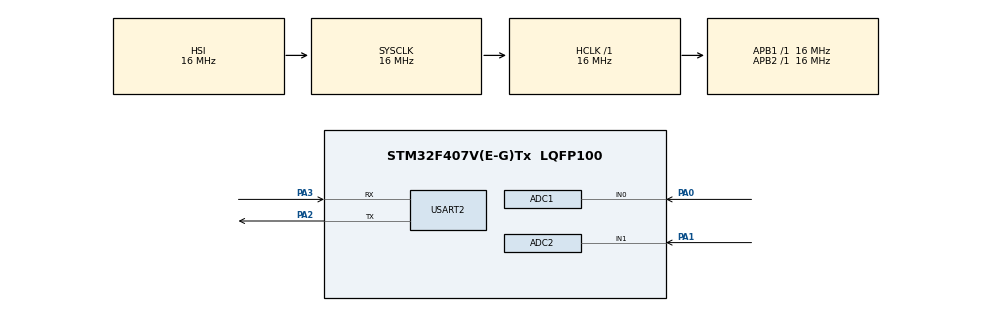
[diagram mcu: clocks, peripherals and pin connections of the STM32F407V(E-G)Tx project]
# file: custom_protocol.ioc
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ADC1.Channel-0\#ChannelRegularConversion=ADC_CHANNEL_0
ADC1.NbrOfConversionFlag=1
ADC1.Rank-0\#ChannelRegularConversion=1
ADC1.SamplingTime-0\#ChannelRegularConversion=ADC_SAMPLETIME_3CYCLES
ADC1.master=1
ADC2.Channel-1\#ChannelRegularConversion=ADC_CHANNEL_1
ADC2.NbrOfConversionFlag=1
ADC2.Rank-1\#ChannelRegularConversion=1
ADC2.SamplingTime-1\#ChannelRegularConversion=ADC_SAMPLETIME_3CYCLES
Mcu.Family=STM32F4
Mcu.Name=STM32F407V(E-G)Tx
Mcu.Package=LQFP100
NVIC.PriorityGroup=NVIC_PRIORITYGROUP_4
PA0-WKUP.Signal=ADCx_IN0
PA1.Signal=ADCx_IN1
PA2.Mode=Asynchronous
PA2.Signal=USART2_TX
PA3.Mode=Asynchronous
PA3.Signal=USART2_RX
ProjectManager.HeapSize=0x200
ProjectManager.StackSize=0x400
ProjectManager.TargetToolchain=Makefile
RCC.AHBFreq_Value=16000000
RCC.APB1Freq_Value=16000000
RCC.APB2Freq_Value=16000000
RCC.CortexFreq_Value=16000000
RCC.HSE_VALUE=25000000
RCC.HSI_VALUE=16000000
RCC.LSE_VALUE=32768
RCC.SYSCLKFreq_VALUE=16000000
RCC.VCOOutputFreq_Value=192000000
SH.ADCx_IN0.0=ADC1_IN0,IN0
SH.ADCx_IN1.0=ADC2_IN1,IN1
USART2.VirtualMode=VM_ASYNC
board=custom

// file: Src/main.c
/* USER CODE BEGIN Header */
/**
  ******************************************************************************
  * @file           : main.c
  * @brief          : Main program body
  ******************************************************************************
  * @attention
  *
  * <h2><center>&copy; Copyright (c) 2020 STMicroelectronics.
  * All rights reserved.</center></h2>
  *
  * This software component is licensed by ST under BSD 3-Clause license,
  * the "License"; You may not use this file except in compliance with the
  * License. You may obtain a copy of the License at:
  *                        opensource.org/licenses/BSD-3-Clause
  *
  ******************************************************************************
  */
/* USER CODE END Header */

#include "main.h"

/* USER CODE BEGIN Includes */
#include <stdio.h>
#include <string.h>

#include "../pb/pb_encode.h"
#include "../pb/pb_decode.h"
#include "simplestm32.pb.h"

/* USER CODE END Includes */

ADC_HandleTypeDef hadc1;
ADC_HandleTypeDef hadc2;

UART_HandleTypeDef huart2;

void SystemClock_Config(void);
static void MX_GPIO_Init(void);
static void MX_ADC1_Init(void);
static void MX_ADC2_Init(void);
static void MX_USART2_UART_Init(void);
/* USER CODE BEGIN PFP */
uint16_t pot1,pot2;
uint8_t txbuffer[10];

/* USER CODE END PFP */

int main(void)
{

  /* MCU Configuration--------------------------------------------------------*/

  /* Reset of all peripherals, Initializes the Flash interface and the Systick. */
  HAL_Init();

  /* Configure the system clock */
  SystemClock_Config();

  /* Initialize all configured peripherals */
  MX_GPIO_Init();
  MX_ADC1_Init();
  MX_ADC2_Init();
  MX_USART2_UART_Init();
  /* USER CODE BEGIN 2 */
  uint8_t buffer[30];
  comMessage msg_tx=comMessage_init_zero;
  pb_ostream_t tx_stream=pb_ostream_from_buffer(txbuffer,sizeof(txbuffer));

  /* USER CODE END 2 */

  /* Infinite loop */
  while (1)
  {

    /* USER CODE BEGIN 3 */

    HAL_ADC_Start(&hadc1);
    HAL_ADC_PollForConversion(&hadc1,HAL_MAX_DELAY);
    pot1=HAL_ADC_GetValue(&hadc1);
    HAL_ADC_Stop(&hadc1);

    HAL_ADC_Start(&hadc2);
    HAL_ADC_PollForConversion(&hadc2,HAL_MAX_DELAY);
    pot2=HAL_ADC_GetValue(&hadc2);
    HAL_ADC_Stop(&hadc2);
    tx_stream=pb_ostream_from_buffer(txbuffer,sizeof(txbuffer));
    msg_tx.pot_val1=pot1;
    msg_tx.pot_val2=pot2;
    pb_encode(&tx_stream,comMessage_fields,&msg_tx);

    sprintf(buffer,"%s\n",txbuffer);
    HAL_UART_Transmit(&huart2,buffer,strlen(buffer),HAL_MAX_DELAY);

    HAL_Delay(500);

  }
  /* USER CODE END 3 */
}

void SystemClock_Config(void)
{
  RCC_OscInitTypeDef RCC_OscInitStruct = {0};
  RCC_ClkInitTypeDef RCC_ClkInitStruct = {0};

  /** Configure the main internal regulator output voltage
  */
  __HAL_RCC_PWR_CLK_ENABLE();
  __HAL_PWR_VOLTAGESCALING_CONFIG(PWR_REGULATOR_VOLTAGE_SCALE1);
  /** Initializes the CPU, AHB and APB busses clocks
  */
  RCC_OscInitStruct.OscillatorType = RCC_OSCILLATORTYPE_HSI;
  RCC_OscInitStruct.HSIState = RCC_HSI_ON;
  RCC_OscInitStruct.HSICalibrationValue = RCC_HSICALIBRATION_DEFAULT;
  RCC_OscInitStruct.PLL.PLLState = RCC_PLL_NONE;
  if (HAL_RCC_OscConfig(&RCC_OscInitStruct) != HAL_OK)
  {
    Error_Handler();
  }
  /** Initializes the CPU, AHB and APB busses clocks
  */
  RCC_ClkInitStruct.ClockType = RCC_CLOCKTYPE_HCLK|RCC_CLOCKTYPE_SYSCLK
                              |RCC_CLOCKTYPE_PCLK1|RCC_CLOCKTYPE_PCLK2;
  RCC_ClkInitStruct.SYSCLKSource = RCC_SYSCLKSOURCE_HSI;
  RCC_ClkInitStruct.AHBCLKDivider = RCC_SYSCLK_DIV1;
  RCC_ClkInitStruct.APB1CLKDivider = RCC_HCLK_DIV1;
  RCC_ClkInitStruct.APB2CLKDivider = RCC_HCLK_DIV1;

  if (HAL_RCC_ClockConfig(&RCC_ClkInitStruct, FLASH_LATENCY_0) != HAL_OK)
  {
    Error_Handler();
  }
}

static void MX_ADC1_Init(void)
{

  ADC_ChannelConfTypeDef sConfig = {0};

  /** Configure the global features of the ADC (Clock, Resolution, Data Alignment and number of conversion)
  */
  hadc1.Instance = ADC1;
  hadc1.Init.ClockPrescaler = ADC_CLOCK_SYNC_PCLK_DIV2;
  hadc1.Init.Resolution = ADC_RESOLUTION_12B;
  hadc1.Init.ScanConvMode = DISABLE;
  hadc1.Init.ContinuousConvMode = DISABLE;
  hadc1.Init.DiscontinuousConvMode = DISABLE;
  hadc1.Init.ExternalTrigConvEdge = ADC_EXTERNALTRIGCONVEDGE_NONE;
  hadc1.Init.ExternalTrigConv = ADC_SOFTWARE_START;
  hadc1.Init.DataAlign = ADC_DATAALIGN_RIGHT;
  hadc1.Init.NbrOfConversion = 1;
  hadc1.Init.DMAContinuousRequests = DISABLE;
  hadc1.Init.EOCSelection = ADC_EOC_SINGLE_CONV;
  if (HAL_ADC_Init(&hadc1) != HAL_OK)
  {
    Error_Handler();
  }
  /** Configure for the selected ADC regular channel its corresponding rank in the sequencer and its sample time.
  */
  sConfig.Channel = ADC_CHANNEL_0;
  sConfig.Rank = 1;
  sConfig.SamplingTime = ADC_SAMPLETIME_3CYCLES;
  if (HAL_ADC_ConfigChannel(&hadc1, &sConfig) != HAL_OK)
  {
    Error_Handler();
  }

}

static void MX_ADC2_Init(void)
{

  ADC_ChannelConfTypeDef sConfig = {0};

  /** Configure the global features of the ADC (Clock, Resolution, Data Alignment and number of conversion)
  */
  hadc2.Instance = ADC2;
  hadc2.Init.ClockPrescaler = ADC_CLOCK_SYNC_PCLK_DIV2;
  hadc2.Init.Resolution = ADC_RESOLUTION_12B;
  hadc2.Init.ScanConvMode = DISABLE;
  hadc2.Init.ContinuousConvMode = DISABLE;
  hadc2.Init.DiscontinuousConvMode = DISABLE;
  hadc2.Init.ExternalTrigConvEdge = ADC_EXTERNALTRIGCONVEDGE_NONE;
  hadc2.Init.ExternalTrigConv = ADC_SOFTWARE_START;
  hadc2.Init.DataAlign = ADC_DATAALIGN_RIGHT;
  hadc2.Init.NbrOfConversion = 1;
  hadc2.Init.DMAContinuousRequests = DISABLE;
  hadc2.Init.EOCSelection = ADC_EOC_SINGLE_CONV;
  if (HAL_ADC_Init(&hadc2) != HAL_OK)
  {
    Error_Handler();
  }
  /** Configure for the selected ADC regular channel its corresponding rank in the sequencer and its sample time.
  */
  sConfig.Channel = ADC_CHANNEL_1;
  sConfig.Rank = 1;
  sConfig.SamplingTime = ADC_SAMPLETIME_3CYCLES;
  if (HAL_ADC_ConfigChannel(&hadc2, &sConfig) != HAL_OK)
  {
    Error_Handler();
  }

}

static void MX_USART2_UART_Init(void)
{

  huart2.Instance = USART2;
  huart2.Init.BaudRate = 115200;
  huart2.Init.WordLength = UART_WORDLENGTH_8B;
  huart2.Init.StopBits = UART_STOPBITS_1;
  huart2.Init.Parity = UART_PARITY_NONE;
  huart2.Init.Mode = UART_MODE_TX_RX;
  huart2.Init.HwFlowCtl = UART_HWCONTROL_NONE;
  huart2.Init.OverSampling = UART_OVERSAMPLING_16;
  if (HAL_UART_Init(&huart2) != HAL_OK)
  {
    Error_Handler();
  }

}

static void MX_GPIO_Init(void)
{

  /* GPIO Ports Clock Enable */
  __HAL_RCC_GPIOA_CLK_ENABLE();

}

void Error_Handler(void)
{
}

/************************ (C) COPYRIGHT STMicroelectronics *****END OF FILE****/
